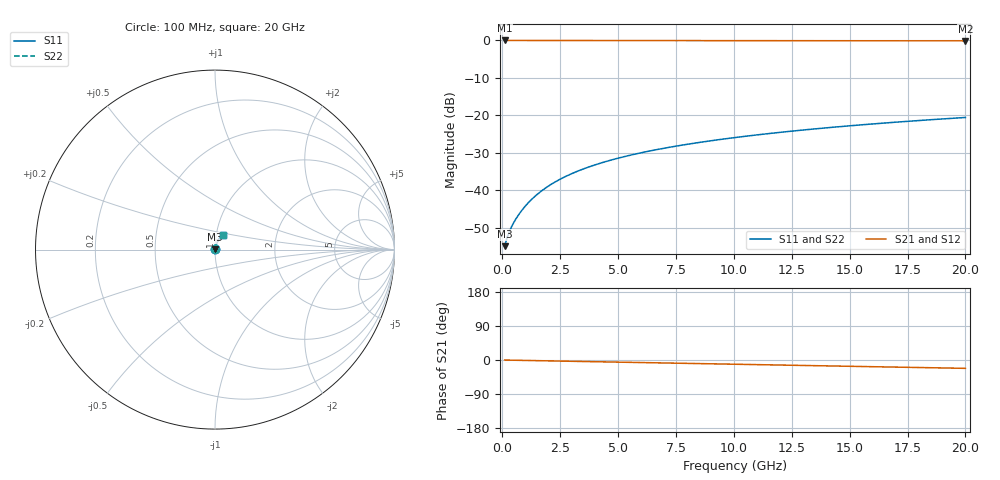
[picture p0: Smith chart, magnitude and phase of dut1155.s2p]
! Touchstone file exported from HFSS 2026.1.0
!  File:  C:/ffzhzh/LocalFiles/Ansys_Project_Files/temp_train_BSMRDL_1155_1783175707_55132.aedt
!  Generated:  10:36:17 PM Jul  4, 2026
!  Design:  BSMRDL
!  Project:  temp_train_BSMRDL_1155_1783175707_55132
! Variables:
!  h_bsmrdl = 4.3um
!  h_ox = 20um
!  h_rdl = 5um
!  h_sub = 80um
!  h_tmrdl = 5um
!  h_tsv = 80um
!  h_via = 3um
!  l_bsmrdl = 369.56um
!  l_sub = 769.56um
!  l_tmrdl = 200um
!  m_sub = 200um
!  pitch = 30.24um
!  r_tsv = 6um
!  s_tmrdl = 10um
!  w_bsmrdl = 21.64um
!  w_sub = 500um
!  w_tmrdl = 12um
!  x_tsv_center1 = 206um
!  x_tsv_center2 = 597.2um
!  x_tsv_center3 = 809.2um
!  x_tsv_center4 = 1200.4um
!  x_tsv_center5 = 1412.4um
!  x_tsv_center6 = 1803.6um
# GHz S MA R 50.000000
! Terminal data exported
! Port[1] = BSM_RDL1_1_T1
! Port[2] = BSM_RDL1_1_T2
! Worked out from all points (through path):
!   200 points, 100 MHz to 20 GHz, reference 50 ohm
!   highest |S21| = -0.01 dB at 100 MHz (marker M1); lowest = -0.1 dB at 20 GHz (marker M2)
!   group delay of S21, straight-line fit = 3.05 ps
!   lowest |S11| = -54.9 dB at 100 MHz (marker M3), VSWR 1.00, Z = 50.2 + j0.0776 ohm
!   |S11| at or under -10 dB: start of sweep to end of sweep
!   |S22| runs from -54.9 to -20.6 dB; largest |S21 - S12| = 6.8e-15
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0.1  0.001797 25.5  0.9984 -0.1  0.9984 -0.1  0.001797 25.5
! Gamma 0 0 0 0
! Port Impedance 50 0 50 0
0.2  0.002291 38.9  0.9982 -0.2  0.9982 -0.2  0.002291 38.9
0.3  0.00279 46.1  0.9981 -0.4  0.9981 -0.4  0.00279 46.1
0.4  0.003266 51.2  0.998 -0.5  0.998 -0.5  0.003266 51.2
0.5  0.003735 55.2  0.9979 -0.6  0.9979 -0.6  0.003735 55.2
0.8  0.005181 63.5  0.9977 -0.9  0.9977 -0.9  0.005181 63.5
1  0.006187 67.0  0.9976 -1.2  0.9976 -1.2  0.006187 67.0
1.2  0.007216 69.4  0.9976 -1.4  0.9976 -1.4  0.007216 69.4
1.4  0.00826 71.2  0.9975 -1.6  0.9975 -1.6  0.00826 71.2
1.7  0.009841 73.1  0.9974 -2.0  0.9974 -2.0  0.009841 73.1
2.2  0.01249 74.8  0.9972 -2.5  0.9972 -2.5  0.01249 74.8
2.8  0.01564 75.7  0.9968 -3.2  0.9968 -3.2  0.01564 75.6
3.5  0.01927 75.9  0.9964 -4.0  0.9964 -4.0  0.01927 75.9
4.2  0.02283 75.8  0.996 -4.8  0.996 -4.8  0.02283 75.7
5  0.02682 75.3  0.9955 -5.7  0.9955 -5.7  0.02682 75.3
5.9  0.03121 74.7  0.9948 -6.7  0.9948 -6.7  0.03121 74.7
6.8  0.03552 74.1  0.9943 -7.7  0.9943 -7.7  0.03552 74.1
8.3  0.04255 72.9  0.9933 -9.3  0.9933 -9.3  0.04255 72.9
10.1  0.05081 71.4  0.9922 -11.3  0.9922 -11.3  0.0508 71.4
13.4  0.06554 68.5  0.9902 -14.9  0.9902 -14.9  0.06554 68.5
16.7  0.07984 65.5  0.9883 -18.4  0.9883 -18.4  0.07983 65.5
20  0.09368 62.3  0.9863 -22.0  0.9863 -22.0  0.09368 62.3
